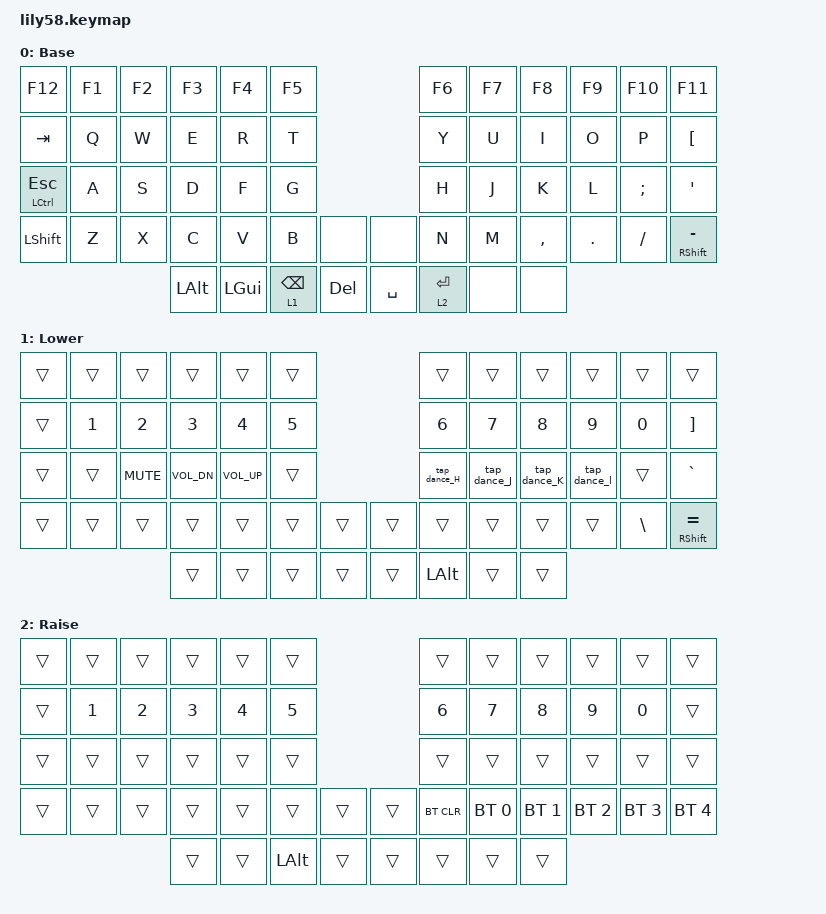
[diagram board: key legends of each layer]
/*
 * Copyright (c) 2020 The ZMK Contributors
 *
 * SPDX-License-Identifier: MIT
 */

#include <behaviors.dtsi>
#include <dt-bindings/zmk/bt.h>
#include <dt-bindings/zmk/keys.h>

&lt {
    tapping-term-ms = <90>;
    quick-tap-ms = <150>;
    flavor = "balanced";
};

&mt {
    tapping-term-ms = <90>;
    quick-tap-ms = <150>;
    flavor = "balanced";
};

/ {
    behaviors {
        tap_dance_H: tap_dance_H {
            compatible = "zmk,behavior-tap-dance";
            label = "TAP_DANCE_H";
            #binding-cells = <0>;
            bindings = <&kp LEFT>, <&kp HOME>;

            tapping-term-ms = <150>;
        };

        tap_dance_J: tap_dance_J {
            compatible = "zmk,behavior-tap-dance";
            label = "TAP_DANCE_J";
            #binding-cells = <0>;
            tapping-term-ms = <150>;
            bindings = <&kp DOWN_ARROW>, <&kp PAGE_DOWN>;
        };

        tap_dance_K: tap_dance_K {
            compatible = "zmk,behavior-tap-dance";
            label = "TAP_DANCE_K";
            #binding-cells = <0>;
            bindings = <&kp UP_ARROW>, <&kp PAGE_UP>;

            tapping-term-ms = <150>;
        };

        tap_dance_l: tap_dance_l {
            compatible = "zmk,behavior-tap-dance";
            label = "TAP_DANCE_L";
            #binding-cells = <0>;
            bindings = <&kp RIGHT_ARROW>, <&kp END>;

            tapping-term-ms = <150>;
        };
    };

    keymap {
        compatible = "zmk,keymap";

        default_layer {
            // ------------------------------------------------------------------------------------------------------------
            // |  ESC  |  1  |  2  |  3   |  4   |  5   |                   |  6   |  7    |  8    |  9   |   0   |   `   |
            // |  TAB  |  Q  |  W  |  E   |  R   |  T   |                   |  Y   |  U    |  I    |  O   |   P   |   -   |
            // |  CTRL |  A  |  S  |  D   |  F   |  G   |                   |  H   |  J    |  K    |  L   |   ;   |   '   |
            // | SHIFT |  Z  |  X  |  C   |  V   |  B   |   "["  |  |  "]"  |  N   |  M    |  ,    |  .   |   /   | SHIFT |
            //                     | ALT  | GUI  | LOWER|  SPACE |  | ENTER | RAISE| BSPC  | GUI   |

            display-name = "Base";
            bindings = <
&kp F12           &kp F1  &kp F2  &kp F3    &kp F4    &kp F5                                    &kp F6        &kp F7  &kp F8     &kp F9   &kp F10   &kp F11
&kp TAB           &kp Q   &kp W   &kp E     &kp R     &kp T                                     &kp Y         &kp U   &kp I      &kp O    &kp P     &kp LEFT_BRACKET
&mt LCTRL ESCAPE  &kp A   &kp S   &kp D     &kp F     &kp G                                     &kp H         &kp J   &kp K      &kp L    &kp SEMI  &kp SQT
&kp LSHFT         &kp Z   &kp X   &kp C     &kp V     &kp B            &none         &none      &kp N         &kp M   &kp COMMA  &kp DOT  &kp FSLH  &mt RSHFT MINUS
                                  &kp LALT  &kp LGUI  &lt 1 BACKSPACE  &kp DELETE    &kp SPACE  &lt 2 RETURN  &none   &none
            >;
        };

        lower_layer {
            // ------------------------------------------------------------------------------------------------------------
            // |       |     |     |      |      |      |                   |      |       |       |      |       |       |
            // |   `   |  1  |  2  |  3   |  4   |  5   |                   |  6   |   7   |   8   |  9   |   0   |       |
            // |   F1  |  F2 |  F3 |  F4  |  F5  |  F6  |                   |      |   <-  |   v   |  ^   |  ->   |       |
            // |   F7  |  F8 |  F9 |  F10 |  F11 |  F12 |        |  |       |  +   |   -   |   =   |  [   |   ]   |   \   |
            //                     |      |      |      |        |  |       |      |       |       |

            display-name = "Lower";
            bindings = <
&trans  &trans        &trans        &trans        &trans        &trans                          &trans        &trans        &trans        &trans        &trans         &trans
&trans  &kp NUMBER_1  &kp NUMBER_2  &kp NUMBER_3  &kp NUMBER_4  &kp NUMBER_5                    &kp NUMBER_6  &kp NUMBER_7  &kp NUMBER_8  &kp NUMBER_9  &kp NUMBER_0   &kp RIGHT_BRACKET
&trans  &trans        &kp C_MUTE    &kp C_VOL_DN  &kp C_VOL_UP  &trans                          &tap_dance_H  &tap_dance_J  &tap_dance_K  &tap_dance_l  &trans         &kp GRAVE
&trans  &trans        &trans        &trans        &trans        &trans        &trans    &trans  &trans        &trans        &trans        &trans        &kp BACKSLASH  &mt RIGHT_SHIFT EQUAL
                                    &trans        &trans        &trans        &trans    &trans  &kp LEFT_ALT  &trans        &trans
            >;
        };

        raise_layer {
            // ------------------------------------------------------------------------------------------------------------
            // | BTCLR | BT1 | BT2 |  BT3 |  BT4 |  BT5 |                   |      |       |       |      |       |       |
            // |  F1   |  F2 |  F3 |  F4  |  F5  |  F6  |                   |  F7  |  F8   |  F9   |  F10 |  F11  |  F12  |
            // |   `   |  !  |  @  |  #   |  $   |  %   |                   |  ^   |  &    |  *    |  (   |   )   |   ~   |
            // |       |     |     |      |      |      |        |  |       |      |  _    |  +    |  {   |   }   |  "|"  |
            //                     |      |      |      |        |  |       |      |       |       |

            display-name = "Raise";
            bindings = <
&trans  &trans        &trans        &trans        &trans        &trans                          &trans        &trans        &trans        &trans        &trans        &trans
&trans  &kp NUMBER_1  &kp NUMBER_2  &kp NUMBER_3  &kp NUMBER_4  &kp NUMBER_5                    &kp NUMBER_6  &kp NUMBER_7  &kp NUMBER_8  &kp NUMBER_9  &kp NUMBER_0  &trans
&trans  &trans        &trans        &trans        &trans        &trans                          &trans        &trans        &trans        &trans        &trans        &trans
&trans  &trans        &trans        &trans        &trans        &trans        &trans    &trans  &bt BT_CLR    &bt BT_SEL 0  &bt BT_SEL 1  &bt BT_SEL 2  &bt BT_SEL 3  &bt BT_SEL 4
                                    &trans        &trans        &kp LEFT_ALT  &trans    &trans  &trans        &trans        &trans
            >;
        };
    };
};
